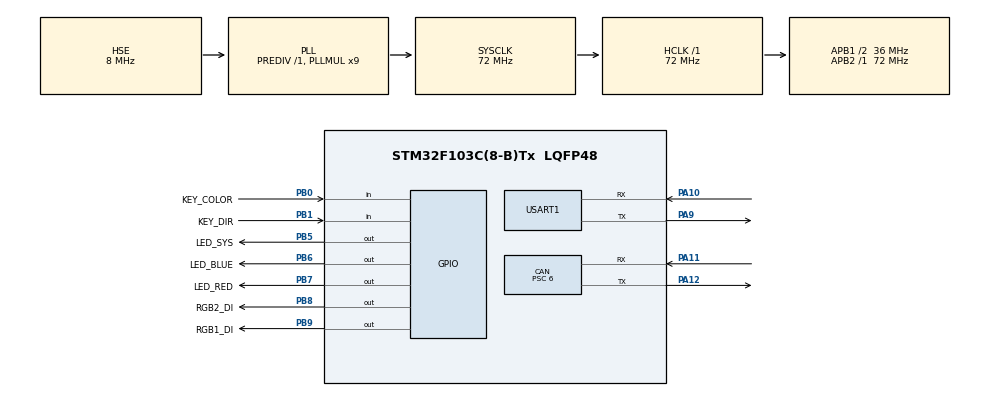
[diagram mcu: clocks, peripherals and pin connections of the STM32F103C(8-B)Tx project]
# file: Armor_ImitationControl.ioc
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CAN.BS1=CAN_BS1_3TQ
CAN.BS2=CAN_BS2_2TQ
CAN.CalculateTimeBit=1000
CAN.CalculateTimeQuantum=166.66666666666669
CAN.Prescaler=6
Mcu.Family=STM32F1
Mcu.Name=STM32F103C(8-B)Tx
Mcu.Package=LQFP48
NVIC.PriorityGroup=NVIC_PRIORITYGROUP_4
NVIC.TIM3_IRQn=true\:0\:0\:false\:false\:true\:true\:true
NVIC.USB_LP_CAN1_RX0_IRQn=true\:0\:0\:false\:false\:true\:true\:true
PA10.Mode=Asynchronous
PA10.Signal=USART1_RX
PA11.Mode=Master
PA11.Signal=CAN_RX
PA12.Mode=Master
PA12.Signal=CAN_TX
PA13.Mode=Serial_Wire
PA13.Signal=SYS_JTMS-SWDIO
PA14.Mode=Serial_Wire
PA14.Signal=SYS_JTCK-SWCLK
PA9.Mode=Asynchronous
PA9.Signal=USART1_TX
PB0.GPIO_Label=KEY_COLOR
PB0.GPIO_PuPd=GPIO_PULLUP
PB0.Signal=GPIO_Input
PB1.GPIO_Label=KEY_DIR
PB1.GPIO_PuPd=GPIO_PULLUP
PB1.Signal=GPIO_Input
PB5.GPIO_Label=LED_SYS
PB5.Signal=GPIO_Output
PB6.GPIO_Label=LED_BLUE
PB6.Signal=GPIO_Output
PB7.GPIO_Label=LED_RED
PB7.Signal=GPIO_Output
PB8.GPIO_Label=RGB2_DI
PB8.Signal=GPIO_Output
PB9.GPIO_Label=RGB1_DI
PB9.Signal=GPIO_Output
PD0-OSC_IN.Mode=HSE-External-Oscillator
PD0-OSC_IN.Signal=RCC_OSC_IN
PD1-OSC_OUT.Mode=HSE-External-Oscillator
PD1-OSC_OUT.Signal=RCC_OSC_OUT
ProjectManager.HeapSize=0x200
ProjectManager.StackSize=0x400
ProjectManager.TargetToolchain=MDK-ARM V5
RCC.AHBFreq_Value=72000000
RCC.APB1CLKDivider=RCC_HCLK_DIV2
RCC.APB1Freq_Value=36000000
RCC.APB1TimFreq_Value=72000000
RCC.APB2Freq_Value=72000000
RCC.APB2TimFreq_Value=72000000
RCC.HCLKFreq_Value=72000000
RCC.PLLMUL=RCC_PLL_MUL9
RCC.PLLSourceVirtual=RCC_PLLSOURCE_HSE
RCC.SYSCLKFreq_VALUE=72000000
RCC.SYSCLKSource=RCC_SYSCLKSOURCE_PLLCLK
RCC.USBFreq_Value=72000000
TIM3.Period=1000-1
TIM3.Prescaler=72-1
USART1.VirtualMode=VM_ASYNC
VP_TIM3_VS_ClockSourceINT.Mode=Internal
board=custom

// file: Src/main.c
/* USER CODE BEGIN Header */
/**
  ******************************************************************************
  * @file           : main.c
  * @brief          : Main program body
  ******************************************************************************
  * @attention
  *
  * <h2><center>&copy; Copyright (c) 2019 STMicroelectronics.
  * All rights reserved.</center></h2>
  *
  * This software component is licensed by ST under BSD 3-Clause license,
  * the "License"; You may not use this file except in compliance with the
  * License. You may obtain a copy of the License at:
  *                        opensource.org/licenses/BSD-3-Clause
  *
  ******************************************************************************
  */
/* USER CODE END Header */

#include "main.h"
#include "can.h"
#include "tim.h"
#include "usart.h"
#include "gpio.h"

/* USER CODE BEGIN Includes */
#include "can_analysis.h"
#include "hit_recognition.h"
/* USER CODE END Includes */

void SystemClock_Config(void);

/* USER CODE BEGIN 0 */
HAL_StatusTypeDef can_sendstate;
HAL_StatusTypeDef can_initstate1;
HAL_StatusTypeDef can_initstate2;
extern unsigned int time_2ms_count;
uint32_t while_time_record=0;
/* USER CODE END 0 */

int main(void)
{

  /* MCU Configuration--------------------------------------------------------*/

  /* Reset of all peripherals, Initializes the Flash interface and the Systick. */
  HAL_Init();

  /* Configure the system clock */
  SystemClock_Config();

  /* Initialize all configured peripherals */
  MX_GPIO_Init();
  MX_CAN_Init();
  MX_TIM3_Init();
  MX_USART1_UART_Init();
  /* USER CODE BEGIN 2 */
  can_initstate2=HAL_TIM_Base_Start_IT(&htim3);
  can_initstate1=CAN_Filter_Config();
  HAL_Delay(10);
  /* USER CODE END 2 */

  /* Infinite loop */
  /* USER CODE BEGIN WHILE */
  CAN_RefereeStart_SendMsg();
  while (1)
  {
//	  if(time_2ms_count%100)
//	  {
//		  //can_sendstate=CAN_TRANSMIT();
//		  uint8_t data[8]={0,1,2,3,4,5,6,7};
//		  can_sendstate=CANx_SendNormalData(&hcan,0x201,data);
//	  }

	  ALLAutoTurnON();
	 if(time_2ms_count-while_time_record>=200)
	 {
		 CAN_HeartBeat_SendMsg();
		 while_time_record=time_2ms_count;
	 }

	 static uint8_t key_color_last=0;
	 static uint8_t color_state=0;
	 if(HAL_GPIO_ReadPin(KEY_COLOR_GPIO_Port,KEY_COLOR_Pin)==0&&key_color_last==1)
	 {
		 color_state=!color_state;
		 if(color_state)
		 {
			 CAN_SetID0Blue2Red_SendMsg();
			 CAN_SetID1Blue2Red_SendMsg();
			 CAN_SetID2Blue2Red_SendMsg();
			 CAN_SetID3Blue2Red_SendMsg();
			 CAN_SetID4Blue2Red_SendMsg();
		 }
		 else
		 {
			 CAN_SetID0Red2Blue_SendMsg();
			 CAN_SetID1Red2Blue_SendMsg();
			 CAN_SetID2Red2Blue_SendMsg();
			 CAN_SetID3Red2Blue_SendMsg();
			 CAN_SetID4Red2Blue_SendMsg();
		 }
		 //change color

	 }
	 key_color_last=HAL_GPIO_ReadPin(KEY_COLOR_GPIO_Port,KEY_COLOR_Pin);

//	 if(time_2ms_count>2500&&time_2ms_count%2500==0)
//	 {
//
//		 CAN_SetID0Blue2Red_SendMsg();
//		 CAN_SetID1Blue2Red_SendMsg();
//		 CAN_SetID2Blue2Red_SendMsg();
//	 }
//	 else if(time_2ms_count>2500&&(time_2ms_count+1100)%2500==0)
//	 {
//		 CAN_SetID0Red2Blue_SendMsg();
//		 CAN_SetID1Red2Blue_SendMsg();
//		 CAN_SetID2Red2Blue_SendMsg();
//	 }
    /* USER CODE END WHILE */

  }
}

void SystemClock_Config(void)
{
  RCC_OscInitTypeDef RCC_OscInitStruct = {0};
  RCC_ClkInitTypeDef RCC_ClkInitStruct = {0};

  /** Initializes the CPU, AHB and APB busses clocks
  */
  RCC_OscInitStruct.OscillatorType = RCC_OSCILLATORTYPE_HSE;
  RCC_OscInitStruct.HSEState = RCC_HSE_ON;
  RCC_OscInitStruct.HSEPredivValue = RCC_HSE_PREDIV_DIV1;
  RCC_OscInitStruct.HSIState = RCC_HSI_ON;
  RCC_OscInitStruct.PLL.PLLState = RCC_PLL_ON;
  RCC_OscInitStruct.PLL.PLLSource = RCC_PLLSOURCE_HSE;
  RCC_OscInitStruct.PLL.PLLMUL = RCC_PLL_MUL9;
  if (HAL_RCC_OscConfig(&RCC_OscInitStruct) != HAL_OK)
  {
    Error_Handler();
  }
  /** Initializes the CPU, AHB and APB busses clocks
  */
  RCC_ClkInitStruct.ClockType = RCC_CLOCKTYPE_HCLK|RCC_CLOCKTYPE_SYSCLK
                              |RCC_CLOCKTYPE_PCLK1|RCC_CLOCKTYPE_PCLK2;
  RCC_ClkInitStruct.SYSCLKSource = RCC_SYSCLKSOURCE_PLLCLK;
  RCC_ClkInitStruct.AHBCLKDivider = RCC_SYSCLK_DIV1;
  RCC_ClkInitStruct.APB1CLKDivider = RCC_HCLK_DIV2;
  RCC_ClkInitStruct.APB2CLKDivider = RCC_HCLK_DIV1;

  if (HAL_RCC_ClockConfig(&RCC_ClkInitStruct, FLASH_LATENCY_2) != HAL_OK)
  {
    Error_Handler();
  }
}

void Error_Handler(void)
{
}

/************************ (C) COPYRIGHT STMicroelectronics *****END OF FILE****/
